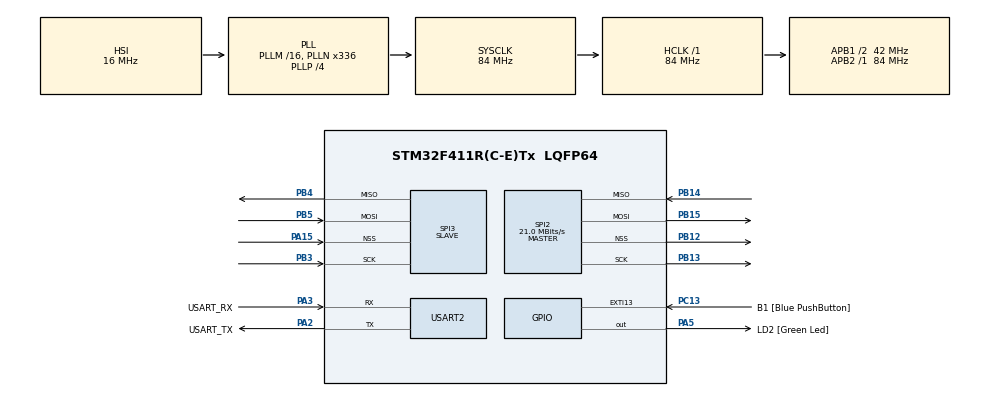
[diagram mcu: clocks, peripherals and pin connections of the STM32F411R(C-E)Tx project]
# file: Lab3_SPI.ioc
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Mcu.Family=STM32F4
Mcu.Name=STM32F411R(C-E)Tx
Mcu.Package=LQFP64
NVIC.PriorityGroup=NVIC_PRIORITYGROUP_0
NVIC.SPI2_IRQn=true\:0\:0\:false\:false\:true\:true\:true\:true
NVIC.SPI3_IRQn=true\:0\:0\:false\:false\:true\:true\:true\:true
PA13.GPIO_Label=TMS
PA13.Mode=Serial_Wire
PA13.Signal=SYS_JTMS-SWDIO
PA14.GPIO_Label=TCK
PA14.Mode=Serial_Wire
PA14.Signal=SYS_JTCK-SWCLK
PA15.Mode=NSS_Signal_Hard_Input
PA15.Signal=SPI3_NSS
PA2.GPIO_Label=USART_TX
PA2.Mode=Asynchronous
PA2.Signal=USART2_TX
PA3.GPIO_Label=USART_RX
PA3.Mode=Asynchronous
PA3.Signal=USART2_RX
PA5.GPIO_Label=LD2 [Green Led]
PA5.Signal=GPIO_Output
PB12.Mode=NSS_Signal_Hard_Output
PB12.Signal=SPI2_NSS
PB13.Mode=Full_Duplex_Master
PB13.Signal=SPI2_SCK
PB14.Mode=Full_Duplex_Master
PB14.Signal=SPI2_MISO
PB15.Mode=Full_Duplex_Master
PB15.Signal=SPI2_MOSI
PB3.Mode=Full_Duplex_Slave
PB3.Signal=SPI3_SCK
PB4.Mode=Full_Duplex_Slave
PB4.Signal=SPI3_MISO
PB5.Mode=Full_Duplex_Slave
PB5.Signal=SPI3_MOSI
PC13-ANTI_TAMP.GPIO_Label=B1 [Blue PushButton]
PC13-ANTI_TAMP.GPIO_ModeDefaultEXTI=GPIO_MODE_IT_FALLING
PC13-ANTI_TAMP.Signal=GPXTI13
PC14-OSC32_IN.Mode=LSE-External-Oscillator
PC14-OSC32_IN.Signal=RCC_OSC32_IN
PC15-OSC32_OUT.Mode=LSE-External-Oscillator
PC15-OSC32_OUT.Signal=RCC_OSC32_OUT
PH0\ -\ OSC_IN.Mode=HSE-External-Clock-Source
PH0\ -\ OSC_IN.Signal=RCC_OSC_IN
PH1\ -\ OSC_OUT.Mode=HSE-External-Clock-Source
PH1\ -\ OSC_OUT.Signal=RCC_OSC_OUT
ProjectManager.HeapSize=0x200
ProjectManager.StackSize=0x400
ProjectManager.TargetToolchain=STM32CubeIDE
RCC.48MHZClocksFreq_Value=84000000
RCC.AHBFreq_Value=84000000
RCC.APB1CLKDivider=RCC_HCLK_DIV2
RCC.APB1Freq_Value=42000000
RCC.APB1TimFreq_Value=84000000
RCC.APB2Freq_Value=84000000
RCC.APB2TimFreq_Value=84000000
RCC.CortexFreq_Value=84000000
RCC.FLatency-AdvancedSettings=FLASH_LATENCY_2
RCC.HCLKFreq_Value=84000000
RCC.HSE_VALUE=8000000
RCC.HSI_VALUE=16000000
RCC.PLLN=336
RCC.PLLP=RCC_PLLP_DIV4
RCC.SYSCLKFreq_VALUE=84000000
RCC.SYSCLKSource=RCC_SYSCLKSOURCE_PLLCLK
RCC.VCOOutputFreq_Value=336000000
SPI2.CalculateBaudRate=21.0 MBits/s
SPI2.Direction=SPI_DIRECTION_2LINES
SPI2.Mode=SPI_MODE_MASTER
SPI2.VirtualNSS=VM_NSSHARD
SPI2.VirtualType=VM_MASTER
SPI3.Direction=SPI_DIRECTION_2LINES
SPI3.Mode=SPI_MODE_SLAVE
SPI3.VirtualNSS=VM_NSSHARD
SPI3.VirtualType=VM_SLAVE
USART2.VirtualMode=VM_ASYNC
board=NUCLEO-F411RE

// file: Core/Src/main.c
/* USER CODE BEGIN Header */
/**
  ******************************************************************************
  * @file           : main.c
  * @brief          : Main program body
  ******************************************************************************
  * @attention
  *
  * Copyright (c) 2024 STMicroelectronics.
  * All rights reserved.
  *
  * This software is licensed under terms that can be found in the LICENSE file
  * in the root directory of this software component.
  * If no LICENSE file comes with this software, it is provided AS-IS.
  *
  ******************************************************************************
  */
/* USER CODE END Header */
#include "main.h"
#include <stdlib.h> // For rand()
#include <stdio.h>  // For sprintf()

SPI_HandleTypeDef hspi2;
SPI_HandleTypeDef hspi3;

UART_HandleTypeDef huart2;

uint8_t masterTxData = 0;  // Variable to hold the random data to send
uint8_t slaveRxData = 0;  // Variable to receive data on the slave

void SystemClock_Config(void);
static void MX_GPIO_Init(void);
static void MX_USART2_UART_Init(void);
static void MX_SPI2_Init(void);
static void MX_SPI3_Init(void);

int main(void)
{

  /* MCU Configuration--------------------------------------------------------*/

  /* Reset of all peripherals, Initializes the Flash interface and the Systick. */
  HAL_Init();

  /* Configure the system clock */
  SystemClock_Config();

  /* Initialize all configured peripherals */
  MX_GPIO_Init();
  MX_USART2_UART_Init();
  MX_SPI2_Init();
  MX_SPI3_Init();

  /* Infinite loop */
  /* USER CODE BEGIN WHILE */
  while (1)
  {
	  // Check if the user button is pressed
	      if (HAL_GPIO_ReadPin(GPIOC, GPIO_PIN_13) == GPIO_PIN_RESET)
	      {
	        HAL_Delay(50);  // Debounce delay

	        // Transmit data from Master (SPI2)
	        masterTxData = rand() & 0xFF;
	        HAL_SPI_Transmit(&hspi2, &masterTxData, 1, HAL_MAX_DELAY);
	        UART_Print("Transmitted!\r\n");

	        // Receive data on Slave (SPI3) using Interrupt or DMA based on your setup
	        HAL_SPI_Receive_IT(&hspi3, &slaveRxData, 1);

	        // Transmit data from Master (SPI2)
	        HAL_SPI_Transmit(&hspi2, &masterTxData, 1, HAL_MAX_DELAY);
	        UART_PrintData("Transmitted:", masterTxData);

	        // Receive data on Slave (SPI3) using Interrupt or DMA based on your setup
	        HAL_SPI_Receive_IT(&hspi3, &slaveRxData, 1);

	               HAL_Delay(100); // Wait to avoid multiple toggles

	               // Print received data
	               UART_PrintData("Received:", slaveRxData);

	               // Toggle an LED on the slave side if the received data matches
	               if (slaveRxData == masterTxData)
	               {
	                 HAL_GPIO_TogglePin(GPIOA, GPIO_PIN_5);
	                 UART_Print("Data match! LED toggled.\r\n");
	               }

	        HAL_Delay(100); // Avoids multiple toggles
	      }
    /* USER CODE END WHILE */

  }
}

void SystemClock_Config(void)
{
  RCC_OscInitTypeDef RCC_OscInitStruct = {0};
  RCC_ClkInitTypeDef RCC_ClkInitStruct = {0};

  /** Configure the main internal regulator output voltage
  */
  __HAL_RCC_PWR_CLK_ENABLE();
  __HAL_PWR_VOLTAGESCALING_CONFIG(PWR_REGULATOR_VOLTAGE_SCALE1);

  /** Initializes the RCC Oscillators according to the specified parameters
  * in the RCC_OscInitTypeDef structure.
  */
  RCC_OscInitStruct.OscillatorType = RCC_OSCILLATORTYPE_HSI;
  RCC_OscInitStruct.HSIState = RCC_HSI_ON;
  RCC_OscInitStruct.HSICalibrationValue = RCC_HSICALIBRATION_DEFAULT;
  RCC_OscInitStruct.PLL.PLLState = RCC_PLL_ON;
  RCC_OscInitStruct.PLL.PLLSource = RCC_PLLSOURCE_HSI;
  RCC_OscInitStruct.PLL.PLLM = 16;
  RCC_OscInitStruct.PLL.PLLN = 336;
  RCC_OscInitStruct.PLL.PLLP = RCC_PLLP_DIV4;
  RCC_OscInitStruct.PLL.PLLQ = 4;
  if (HAL_RCC_OscConfig(&RCC_OscInitStruct) != HAL_OK)
  {
    Error_Handler();
  }

  /** Initializes the CPU, AHB and APB buses clocks
  */
  RCC_ClkInitStruct.ClockType = RCC_CLOCKTYPE_HCLK|RCC_CLOCKTYPE_SYSCLK
                              |RCC_CLOCKTYPE_PCLK1|RCC_CLOCKTYPE_PCLK2;
  RCC_ClkInitStruct.SYSCLKSource = RCC_SYSCLKSOURCE_PLLCLK;
  RCC_ClkInitStruct.AHBCLKDivider = RCC_SYSCLK_DIV1;
  RCC_ClkInitStruct.APB1CLKDivider = RCC_HCLK_DIV2;
  RCC_ClkInitStruct.APB2CLKDivider = RCC_HCLK_DIV1;

  if (HAL_RCC_ClockConfig(&RCC_ClkInitStruct, FLASH_LATENCY_2) != HAL_OK)
  {
    Error_Handler();
  }
}

void UART_Print(const char *msg)
{
  HAL_UART_Transmit(&huart2, (uint8_t*)msg, strlen(msg), HAL_MAX_DELAY);
}

void UART_PrintData(const char *prefix, uint8_t data)
{
  char msg[50];
  sprintf(msg, "%s 0x%02X\r\n", prefix, data);
  UART_Print(msg);
}

static void MX_SPI2_Init(void)
{

  /* SPI2 parameter configuration*/
  hspi2.Instance = SPI2;
  hspi2.Init.Mode = SPI_MODE_MASTER;
  hspi2.Init.Direction = SPI_DIRECTION_2LINES;
  hspi2.Init.DataSize = SPI_DATASIZE_8BIT;
  hspi2.Init.CLKPolarity = SPI_POLARITY_LOW;
  hspi2.Init.CLKPhase = SPI_PHASE_1EDGE;
  hspi2.Init.NSS = SPI_NSS_HARD_OUTPUT;
  hspi2.Init.BaudRatePrescaler = SPI_BAUDRATEPRESCALER_2;
  hspi2.Init.FirstBit = SPI_FIRSTBIT_MSB;
  hspi2.Init.TIMode = SPI_TIMODE_DISABLE;
  hspi2.Init.CRCCalculation = SPI_CRCCALCULATION_DISABLE;
  hspi2.Init.CRCPolynomial = 10;
  if (HAL_SPI_Init(&hspi2) != HAL_OK)
  {
    Error_Handler();
  }

}

static void MX_SPI3_Init(void)
{

  /* SPI3 parameter configuration*/
  hspi3.Instance = SPI3;
  hspi3.Init.Mode = SPI_MODE_SLAVE;
  hspi3.Init.Direction = SPI_DIRECTION_2LINES;
  hspi3.Init.DataSize = SPI_DATASIZE_8BIT;
  hspi3.Init.CLKPolarity = SPI_POLARITY_LOW;
  hspi3.Init.CLKPhase = SPI_PHASE_1EDGE;
  hspi3.Init.NSS = SPI_NSS_HARD_INPUT;
  hspi3.Init.FirstBit = SPI_FIRSTBIT_MSB;
  hspi3.Init.TIMode = SPI_TIMODE_DISABLE;
  hspi3.Init.CRCCalculation = SPI_CRCCALCULATION_DISABLE;
  hspi3.Init.CRCPolynomial = 10;
  if (HAL_SPI_Init(&hspi3) != HAL_OK)
  {
    Error_Handler();
  }

}

static void MX_USART2_UART_Init(void)
{

  huart2.Instance = USART2;
  huart2.Init.BaudRate = 115200;
  huart2.Init.WordLength = UART_WORDLENGTH_8B;
  huart2.Init.StopBits = UART_STOPBITS_1;
  huart2.Init.Parity = UART_PARITY_NONE;
  huart2.Init.Mode = UART_MODE_TX_RX;
  huart2.Init.HwFlowCtl = UART_HWCONTROL_NONE;
  huart2.Init.OverSampling = UART_OVERSAMPLING_16;
  if (HAL_UART_Init(&huart2) != HAL_OK)
  {
    Error_Handler();
  }

}

static void MX_GPIO_Init(void)
{
  GPIO_InitTypeDef GPIO_InitStruct = {0};

  /* GPIO Ports Clock Enable */
  __HAL_RCC_GPIOC_CLK_ENABLE();
  __HAL_RCC_GPIOH_CLK_ENABLE();
  __HAL_RCC_GPIOA_CLK_ENABLE();
  __HAL_RCC_GPIOB_CLK_ENABLE();

  /*Configure GPIO pin Output Level */
  HAL_GPIO_WritePin(LD2_GPIO_Port, LD2_Pin, GPIO_PIN_RESET);

  /*Configure GPIO pin : B1_Pin */
  GPIO_InitStruct.Pin = B1_Pin;
  GPIO_InitStruct.Mode = GPIO_MODE_IT_FALLING;
  GPIO_InitStruct.Pull = GPIO_NOPULL;
  HAL_GPIO_Init(B1_GPIO_Port, &GPIO_InitStruct);

  /*Configure GPIO pin : LD2_Pin */
  GPIO_InitStruct.Pin = LD2_Pin;
  GPIO_InitStruct.Mode = GPIO_MODE_OUTPUT_PP;
  GPIO_InitStruct.Pull = GPIO_NOPULL;
  GPIO_InitStruct.Speed = GPIO_SPEED_FREQ_LOW;
  HAL_GPIO_Init(LD2_GPIO_Port, &GPIO_InitStruct);

}

void Error_Handler(void)
{
  __disable_irq();
  while (1)
  {
  }
}
